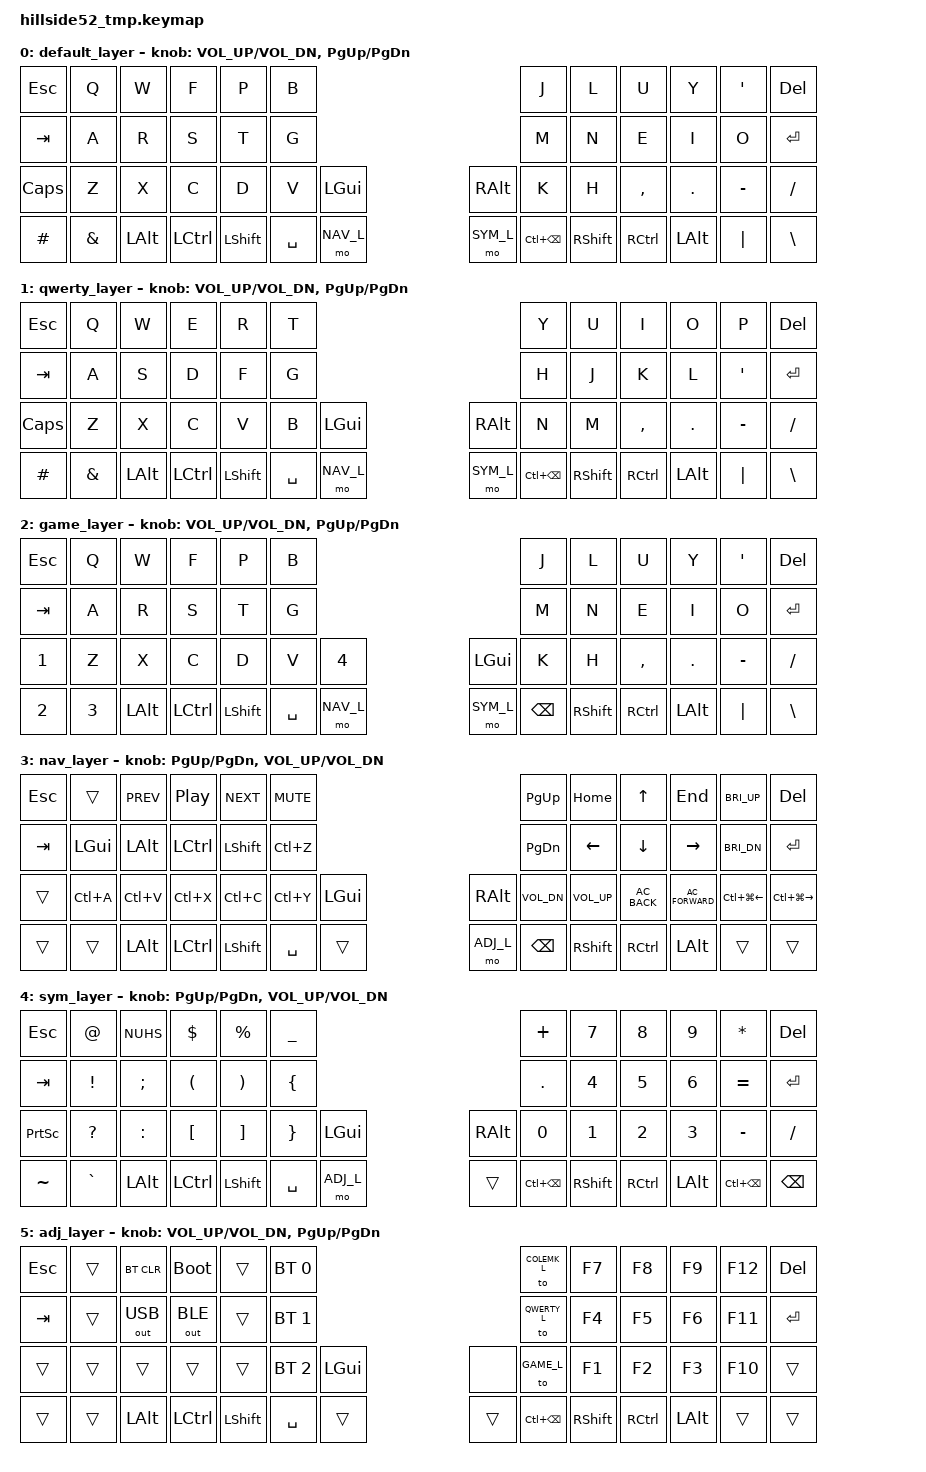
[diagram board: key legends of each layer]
/*
 * Copyright (c) 2021-2022 The ZMK Contributors
 *
 * SPDX-License-Identifier: MIT
 */

#include <behaviors.dtsi>
#include <dt-bindings/zmk/bt.h>
#include <dt-bindings/zmk/ext_power.h>
#include <dt-bindings/zmk/keys.h>
#include <dt-bindings/zmk/outputs.h>

#define COLEMK_L 0
#define QWERTY_L 1
#define GAME_L   2
#define NAV_L    3
#define SYM_L    4
#define ADJ_L    5

#define Undo   LC(Z)
#define Cut    LC(X)
#define Copy   LC(C)
#define Paste  LC(V)
#define Redo   LC(Y)
#define All    LC(A)
#define CBack  LC(BSPC)
#define RDesk  LC(LG(RIGHT))
#define LDesk  LC(LG(LEFT))

/ {
        keymap {
                compatible = "zmk,keymap";

                default_layer {
/* COLEMAK-DH
 * -------------------------------------------------------------------------------------------------------------------------------------
 * | ESC   |   Q   |   W   |   F   |   P   |   B   |-----------------------------------|   J   |   L   |   U   |   Y   |   '   |  DEL  |
 * | TAB   |   A   |   R   |   S   |   T   |   G   |-----------------------------------|   M   |   N   |   E   |   I   |   O   | ENTER |
 * | CAPS  |   Z   |   X   |   C   |   D   |   V   |  WIN  |-------------------| ALTGR |   K   |   H   |   ,   |   .   |   -   |   /   |
 * | #     |   &   |  ALT  |-------|  CTRL | SHIFT | SPACE |  Nav  |---|  Sym  |  CBCK | SHIFT |  CTRL |-------|  ALT  |   |   |   \   |
 */
                        bindings = <
&kp  ESC      &kp  Q        &kp  W        &kp  F        &kp  P        &kp  B                                                                         &kp  J        &kp  L        &kp  U        &kp  Y        &kp  SQT      &kp  DEL
&kp  TAB      &kp  A        &kp  R        &kp  S        &kp  T        &kp  G                                                                         &kp  M        &kp  N        &kp  E        &kp  I        &kp  O        &kp  ENTER
&kp  CAPS     &kp  Z        &kp  X        &kp  C        &kp  D        &kp  V        &kp  LGUI                                          &kp  RALT     &kp  K        &kp  H        &kp  COMMA    &kp  DOT      &kp  MINUS    &kp  SLASH
&kp  HASH     &kp  AMPS     &kp  LALT                   &kp  LCTRL    &kp  LSHIFT   &kp  SPACE      &mo  NAV_L           &mo  SYM_L    &kp  CBack    &kp  RSHIFT   &kp  RCTRL                  &kp  LALT     &kp  PIPE     &kp  BSLH
                        >;

                        sensor-bindings = <&inc_dec_kp C_VOL_UP C_VOL_DN &inc_dec_kp PG_UP PG_DN>;
                };

                qwerty_layer {
/* QWERTY
 * -------------------------------------------------------------------------------------------------------------------------------------
 * | ESC   |   Q   |   W   |   E   |   R   |   T   |-----------------------------------|   Y   |   U   |   I   |   O   |   P   |  DEL  |
 * | TAB   |   A   |   S   |   D   |   F   |   G   |-----------------------------------|   H   |   J   |   K   |   L   |   '   | ENTER |
 * | CAPS  |   Z   |   X   |   C   |   V   |   B   |  WIN  |-------------------| ALTGR |   N   |   M   |   ,   |   .   |   -   |   /   |
 * | #     |   &   |  ALT  |-------|  CTRL | SHIFT | SPACE |  Nav  |---|  Sym  |  CBCK | SHIFT |  CTRL |-------|  ALT  |   |   |   \   |
 */
                        bindings = <
&kp  ESC      &kp  Q        &kp  W        &kp  E        &kp  R        &kp  T                                                                         &kp  Y        &kp  U        &kp  I        &kp  O        &kp  P        &kp  DEL
&kp  TAB      &kp  A        &kp  S        &kp  D        &kp  F        &kp  G                                                                         &kp  H        &kp  J        &kp  K        &kp  L        &kp  SQT      &kp  ENTER
&kp  CAPS     &kp  Z        &kp  X        &kp  C        &kp  V        &kp  B        &kp  LGUI                                          &kp  RALT     &kp  N        &kp  M        &kp  COMMA    &kp  DOT      &kp  MINUS    &kp  SLASH
&kp  HASH     &kp  AMPS     &kp  LALT                   &kp  LCTRL    &kp  LSHIFT   &kp  SPACE    &mo  NAV_L             &mo  SYM_L    &kp  CBack    &kp  RSHIFT   &kp  RCTRL                  &kp  LALT     &kp  PIPE     &kp  BSLH
                        >;

                        sensor-bindings = <&inc_dec_kp C_VOL_UP C_VOL_DN &inc_dec_kp PG_UP PG_DN>;
                };

                game_layer {
/* GAME
 * -------------------------------------------------------------------------------------------------------------------------------------
 * | ESC   |   Q   |   W   |   F   |   P   |   B   |-----------------------------------|   J   |   L   |   U   |   Y   |   '   |  DEL  |
 * | TAB   |   A   |   R   |   S   |   T   |   G   |-----------------------------------|   M   |   N   |   E   |   I   |   O   | ENTER |
 * |  1    |   Z   |   X   |   C   |   D   |   V   |  4    |-------------------|  WIN  |   K   |   H   |   ,   |   .   |   -   |   /   |
 * |  2    |   3   |  ALT  |-------|  CTRL | SHIFT | SPACE | NAV_L |---|  Sym  |  CBCK | SHIFT |  CTRL |-------|  ALT  |   |   |   \   |
 */
                        bindings = <
&kp  ESC      &kp  Q        &kp  W        &kp  F        &kp  P        &kp  B                                                                         &kp  J        &kp  L        &kp  U        &kp  Y        &kp  SQT      &kp  DEL
&kp  TAB      &kp  A        &kp  R        &kp  S        &kp  T        &kp  G                                                                         &kp  M        &kp  N        &kp  E        &kp  I        &kp  O        &kp  ENTER
&kp  N1       &kp  Z        &kp  X        &kp  C        &kp  D        &kp  V        &kp  N4                                            &kp  LGUI     &kp  K        &kp  H        &kp  COMMA    &kp  DOT      &kp  MINUS    &kp  SLASH
&kp  N2       &kp  N3       &kp  LALT                   &kp  LCTRL    &kp  LSHIFT   &kp  SPACE      &mo  NAV_L           &mo  SYM_L    &kp  BSPC     &kp  RSHIFT   &kp  RCTRL                  &kp  LALT     &kp  PIPE     &kp  BSLH
                        >;

                        sensor-bindings = <&inc_dec_kp C_VOL_UP C_VOL_DN &inc_dec_kp PG_UP PG_DN>;
                };

                nav_layer {
/* NAV
 * -------------------------------------------------------------------------------------------------------------------------------------
 * | ESC   |       | PrevS | PlayP | NextS |  Mute |-----------------------------------| PGUP  | HOME  |  Up   |  END  | BRT_U |  DEL  |
 * | TAB   |  WIN  |  Alt  | Ctrl  | Shift |  ^Z   |-----------------------------------| PGDN  |  Left |  Down | Right | BRT_D | ENTER |
 * |       |  ^A   |  ^V   |  ^X   |  ^C   |  ^Y   |  WIN  |-------------------| ALTGR | VOL_D | VOL_U |  BACK | FORW  | LDesk | RDesk |
 * |       |       |  ALT  |-------|  CTRL | SHIFT | SPACE |       |---| ADJ_L |  BCK  | SHIFT |  CTRL |-------|  ALT  |       |       |
 */
                        bindings = <
&kp  ESC      &trans        &kp  C_PREV   &kp  C_PP     &kp  C_NEXT   &kp  C_MUTE                                                                    &kp   PG_UP   &kp  HOME     &kp   UP      &kp   END        &kp  C_BRI_UP &kp DEL
&kp  TAB      &kp  LGUI     &kp  LALT     &kp  LCTRL    &kp  LSHIFT   &kp  Undo                                                                      &kp   PG_DN   &kp  LEFT     &kp   DOWN    &kp   RIGHT      &kp C_BRI_DN  &kp ENTER
&trans        &kp  All      &kp  Paste    &kp  Cut      &kp  Copy     &kp  Redo     &kp  LGUI                                          &kp  RALT     &kp C_VOL_DN  &kp  C_VOL_UP &kp C_AC_BACK &kp C_AC_FORWARD &kp LDesk     &kp RDesk
&trans        &trans        &kp  LALT                   &kp  LCTRL    &kp  LSHIFT   &kp  SPACE      &trans               &mo  ADJ_L    &kp  BSPC     &kp  RSHIFT   &kp  RCTRL                  &kp  LALT        &trans        &trans
                        >;

                        sensor-bindings = <&inc_dec_kp PG_UP PG_DN &inc_dec_kp C_VOL_UP C_VOL_DN>;
                };

                sym_layer {
/* SYM
 * -------------------------------------------------------------------------------------------------------------------------------------
 * | ESC   |   @   |   £   |   $   |   %   |   _   |-----------------------------------|   +   |   7   |   8   |   9   |   *   |  DEL  |
 * | TAB   |   !   |   ;   |   (   |   )   |   {   |-----------------------------------|   .   |   4   |   5   |   6   |   =   | ENTER |
 * | PRTSC |   ?   |   :   |   [   |   ]   |   }   |  WIN  |-------------------| ALTGR |   0   |   1   |   2   |   3   |   -   |   /   |
 * |   ~   |   `   |  ALT  |-------|  CTRL | SHIFT | SPACE | ADJ_L |---|       |  CBCK | SHIFT |  CTRL |-------|  ALT  |  CBCK | BSPC  |
 */
                        bindings = <
&kp  ESC      &kp  AT       &kp  NUHS     &kp  DOLLAR   &kp  PERCENT  &kp  UNDER                                                                     &kp  PLUS     &kp  N7       &kp  N8       &kp  N9       &kp  STAR     &kp  DEL
&kp  TAB      &kp  EXCL     &kp  SEMI     &kp  LPAR     &kp  RPAR     &kp  LBRC                                                                      &kp  DOT      &kp  N4       &kp  N5       &kp  N6       &kp  EQUAL    &kp  ENTER
&kp  PSCRN    &kp  QMARK    &kp  COLON    &kp  LBKT     &kp  RBKT     &kp  RBRC     &kp  LGUI                                          &kp  RALT     &kp  N0       &kp  N1       &kp  N2       &kp  N3       &kp  MINUS    &kp  SLASH
&kp  TILDE    &kp  GRAVE    &kp  LALT                   &kp  LCTRL    &kp  LSHIFT   &kp  SPACE      &mo  ADJ_L           &trans        &kp  CBack    &kp  RSHIFT   &kp  RCTRL                  &kp  LALT     &kp  CBack    &kp  BSPC
                        >;

                        sensor-bindings = <&inc_dec_kp PG_UP PG_DN &inc_dec_kp C_VOL_UP C_VOL_DN>;
                };

                adj_layer {
/* ADJUST
 * -------------------------------------------------------------------------------------------------------------------------------------
 * | ESC   |       |BT CLR | BOOTL |       | BT 0  |-----------------------------------| CLMK  |  F7   |  F8   |  F9   |  F12  |  DEL  |
 * | TAB   |       |OUT_USB|OUT_BLE|       | BT 1  |-----------------------------------| QWERTY|  F4   |  F5   |  F6   |  F11  | ENTER |
 * |       |       |       |       |       | BT 2  |  WIN  |-------------------| ALTGR | GAME  |  F1   |  F2   |  F3   |  F10  |       |
 * |       |       |  ALT  |-------|  CTRL | SHIFT | SPACE |       |---|       |  CBCK | SHIFT |  CTRL |-------|  ALT  |       |       |
 */
                        bindings = <
&kp ESC       &trans        &bt  BT_CLR   &bootloader   &trans        &bt BT_SEL 0                                                                      &to  COLEMK_L  &kp F7         &kp F8         &kp F9         &kp F12        &kp DEL
&kp TAB       &trans        &out OUT_USB  &out OUT_BLE  &trans        &bt BT_SEL 1                                                                      &to  QWERTY_L  &kp F4         &kp F5         &kp F6         &kp F11        &kp ENTER
&trans        &trans        &trans        &trans        &trans        &bt BT_SEL 2  &kp LGUI                                           &none            &to  GAME_L    &kp F1         &kp F2         &kp F3         &kp F10        &trans
&trans        &trans        &kp  LALT                   &kp  LCTRL    &kp  LSHIFT     &kp  SPACE  &trans                 &trans        &kp  CBack       &kp  RSHIFT    &kp  RCTRL                    &kp  LALT      &trans         &trans
                        >;

                        sensor-bindings = <&inc_dec_kp C_VOL_UP C_VOL_DN &inc_dec_kp PG_UP PG_DN>;
                };
        };
};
